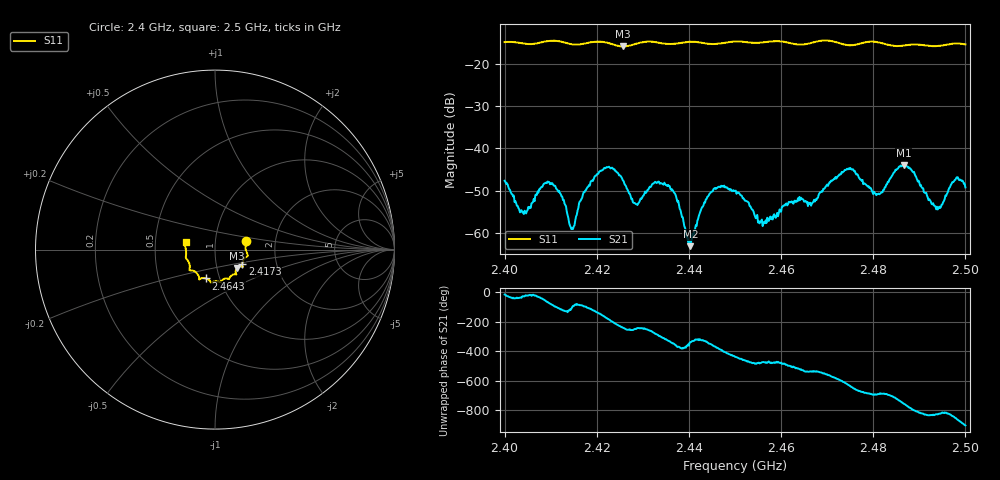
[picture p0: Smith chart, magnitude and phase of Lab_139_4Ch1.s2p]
# Hz S RI R 50
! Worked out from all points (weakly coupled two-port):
!   601 points, 2.4 GHz to 2.5 GHz, reference 50 ohm
!   highest |S21| = -43.98 dB at 2.4867 GHz (marker M1); lowest = -63.1 dB at 2.4403 GHz (marker M2)
!   lowest |S11| = -15.9 dB at 2.4257 GHz (marker M3), VSWR 1.38, Z = 62.5 - j13.1 ohm
!   |S11| at or under -10 dB: start of sweep to end of sweep
!   S12 and S22 are empty: the file has one direction only
!   S11 on the Smith chart (normalised r, x): 2.4 GHz: 1.41, +0.14; 2.4173 GHz: 1.34, -0.23; 2.4643 GHz: 0.86, -0.28; 2.5 GHz: 0.72, +0.06
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2.4e9  0.1733 0.0493  0.00399 -0.00108  0 0  0 0
2.404333e9  0.1714 0.0213  0.00163 -0.000833  0 0  0 0
2.4105e9  0.1836 -0.0339  0.000153 -0.00374  0 0  0 0
2.414667e9  0.1612 -0.0526  -0.000211 -0.00112  0 0  0 0
2.416667e9  0.1528 -0.0745  9.75e-05 -0.00251  0 0  0 0
2.417333e9  0.1521 -0.082  -0.00029 -0.00302  0 0  0 0
2.422167e9  0.1504 -0.0945  -0.00598 -0.000541  0 0  0 0
2.425667e9  0.1228 -0.1024  -0.00209 0.00361  0 0  0 0
2.4285e9  0.1152 -0.1277  -0.000801 0.00204  0 0  0 0
2.433333e9  0.1129 -0.137  0.00139 0.00379  0 0  0 0
2.436833e9  0.0882 -0.1476  0.00294 0.000471  0 0  0 0
2.440333e9  0.0789 -0.1638  0.000641 0.000274  0 0  0 0
2.445e9  0.0557 -0.1614  0.00307 0.000221  0 0  0 0
2.45e9  0.0293 -0.1807  0.000742 -0.00304  0 0  0 0
2.455833e9  -0.00517 -0.1778  -0.000571 -0.00132  0 0  0 0
2.464333e9  -0.0499 -0.1606  -0.00247 -0.000823  0 0  0 0
2.466667e9  -0.0758 -0.1596  -0.00221 -0.000119  0 0  0 0
2.4745e9  -0.1016 -0.131  -0.000425 0.00562  0 0  0 0
2.483333e9  -0.1406 -0.09  0.00363 0.00168  0 0  0 0
2.486667e9  -0.1533 -0.0584  0.00518 -0.00363  0 0  0 0
2.493667e9  -0.1613 -0.00587  -0.000532 -0.00183  0 0  0 0
2.5e9  -0.1638 0.0422  -0.00345 9.56e-05  0 0  0 0
